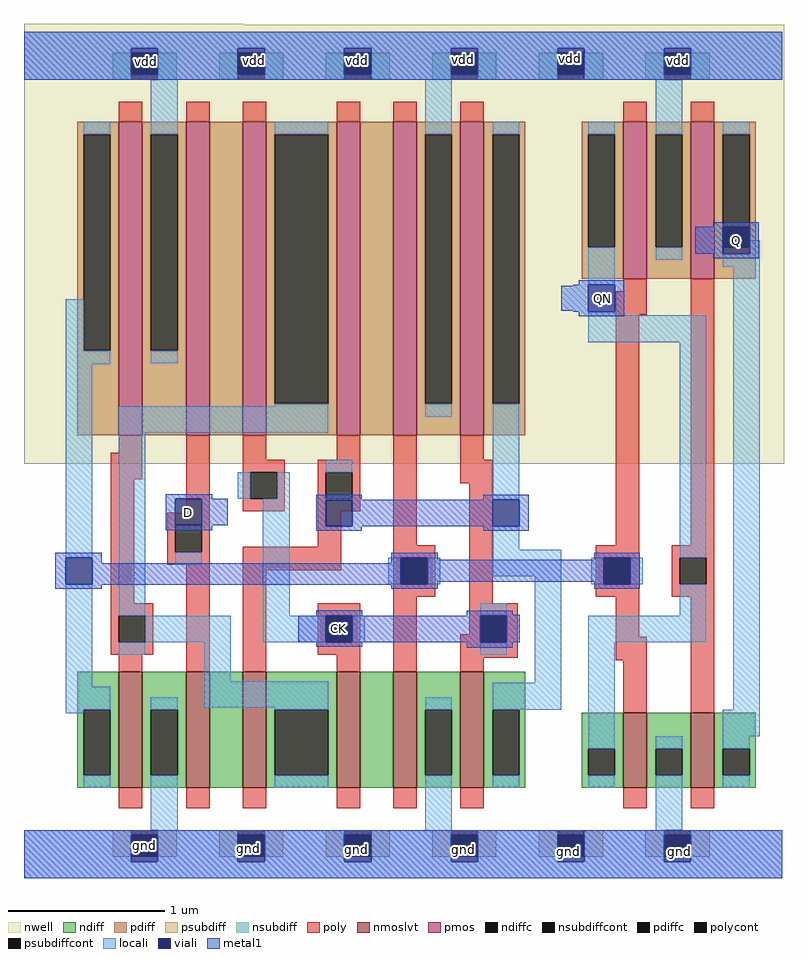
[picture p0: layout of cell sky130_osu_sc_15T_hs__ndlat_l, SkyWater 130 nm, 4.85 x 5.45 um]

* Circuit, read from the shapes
.subckt sky130_osu_sc_15T_hs__ndlat_l D Q QN CK
XM1 gnd n1 n2 gnd sky130_fd_pr__nfet_01v8_lvt w=0.74 l=0.15
XM2 n3 D gnd gnd sky130_fd_pr__nfet_01v8_lvt w=0.74 l=0.15
XM3 n1 n4 n3 gnd sky130_fd_pr__nfet_01v8_lvt w=0.74 l=0.15
XM4 n5 CK n1 gnd sky130_fd_pr__nfet_01v8_lvt w=0.74 l=0.15
XM5 gnd n2 n5 gnd sky130_fd_pr__nfet_01v8_lvt w=0.74 l=0.15
XM6 n4 CK gnd gnd sky130_fd_pr__nfet_01v8_lvt w=0.74 l=0.15
XM7 gnd n2 QN gnd sky130_fd_pr__nfet_01v8_lvt w=0.48 l=0.15
XM8 Q QN gnd gnd sky130_fd_pr__nfet_01v8_lvt w=0.48 l=0.15
XM9 vdd n1 n2 vdd sky130_fd_pr__pfet_01v8 w=2 l=0.15
XM10 n6 D vdd vdd sky130_fd_pr__pfet_01v8 w=2 l=0.15
XM11 n1 CK n6 vdd sky130_fd_pr__pfet_01v8 w=2 l=0.15
XM12 n7 n4 n1 vdd sky130_fd_pr__pfet_01v8 w=2 l=0.15
XM13 vdd n2 n7 vdd sky130_fd_pr__pfet_01v8 w=2 l=0.15
XM14 n4 CK vdd vdd sky130_fd_pr__pfet_01v8 w=2 l=0.15
XM15 vdd n2 QN vdd sky130_fd_pr__pfet_01v8 w=1 l=0.15
XM16 Q QN vdd vdd sky130_fd_pr__pfet_01v8 w=1 l=0.15
.ends

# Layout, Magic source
magic
tech sky130A
magscale 1 2
<< nwell >>
rect 50 1089 330 1090
rect 50 529 1020 1089
<< nmoslvt >>
rect 171 115 201 263
rect 257 115 287 263
rect 329 115 359 263
rect 449 115 479 263
rect 521 115 551 263
rect 607 115 637 263
rect 815 115 845 211
rect 901 115 931 211
<< pmos >>
rect 171 565 201 965
rect 257 565 287 965
rect 329 565 359 965
rect 449 565 479 965
rect 521 565 551 965
rect 607 565 637 965
rect 815 765 845 965
rect 901 765 931 965
<< ndiff >>
rect 118 215 171 263
rect 118 131 126 215
rect 160 131 171 215
rect 118 115 171 131
rect 201 215 257 263
rect 201 131 212 215
rect 246 131 257 215
rect 201 115 257 131
rect 287 115 329 263
rect 359 215 449 263
rect 359 131 370 215
rect 438 131 449 215
rect 359 115 449 131
rect 479 115 521 263
rect 551 215 607 263
rect 551 131 562 215
rect 596 131 607 215
rect 551 115 607 131
rect 637 215 690 263
rect 637 131 648 215
rect 682 131 690 215
rect 637 115 690 131
rect 762 165 815 211
rect 762 131 770 165
rect 804 131 815 165
rect 762 115 815 131
rect 845 165 901 211
rect 845 131 856 165
rect 890 131 901 165
rect 845 115 901 131
rect 931 165 984 211
rect 931 131 942 165
rect 976 131 984 165
rect 931 115 984 131
<< pdiff >>
rect 118 949 171 965
rect 118 673 126 949
rect 160 673 171 949
rect 118 565 171 673
rect 201 949 257 965
rect 201 673 212 949
rect 246 673 257 949
rect 201 565 257 673
rect 287 565 329 965
rect 359 949 449 965
rect 359 605 370 949
rect 438 605 449 949
rect 359 565 449 605
rect 479 565 521 965
rect 551 949 607 965
rect 551 605 562 949
rect 596 605 607 949
rect 551 565 607 605
rect 637 949 690 965
rect 637 605 648 949
rect 682 605 690 949
rect 762 949 815 965
rect 762 805 770 949
rect 804 805 815 949
rect 762 765 815 805
rect 845 949 901 965
rect 845 805 856 949
rect 890 805 901 949
rect 845 765 901 805
rect 931 949 984 965
rect 931 805 942 949
rect 976 805 984 949
rect 931 765 984 805
rect 637 565 690 605
<< ndiffc >>
rect 126 131 160 215
rect 212 131 246 215
rect 370 131 438 215
rect 562 131 596 215
rect 648 131 682 215
rect 770 131 804 165
rect 856 131 890 165
rect 942 131 976 165
<< pdiffc >>
rect 126 673 160 949
rect 212 673 246 949
rect 370 605 438 949
rect 562 605 596 949
rect 648 605 682 949
rect 770 805 804 949
rect 856 805 890 949
rect 942 805 976 949
<< psubdiff >>
rect 163 27 187 61
rect 221 27 245 61
rect 299 27 323 61
rect 357 27 381 61
rect 435 27 459 61
rect 493 27 517 61
rect 571 27 595 61
rect 629 27 653 61
rect 707 27 731 61
rect 765 27 789 61
rect 843 27 867 61
rect 901 27 925 61
<< nsubdiff >>
rect 163 1019 187 1053
rect 221 1019 245 1053
rect 299 1019 323 1053
rect 357 1019 381 1053
rect 435 1019 459 1053
rect 493 1019 517 1053
rect 571 1019 595 1053
rect 629 1019 653 1053
rect 707 1019 731 1053
rect 765 1019 789 1053
rect 843 1019 867 1053
rect 901 1019 925 1053
<< psubdiffcont >>
rect 187 27 221 61
rect 323 27 357 61
rect 459 27 493 61
rect 595 27 629 61
rect 731 27 765 61
rect 867 27 901 61
<< nsubdiffcont >>
rect 187 1019 221 1053
rect 323 1019 357 1053
rect 459 1019 493 1053
rect 595 1019 629 1053
rect 731 1019 765 1053
rect 867 1019 901 1053
<< poly >>
rect 171 965 201 991
rect 257 965 287 991
rect 329 965 359 991
rect 449 965 479 991
rect 521 965 551 991
rect 607 965 637 991
rect 815 965 845 991
rect 901 965 931 991
rect 815 749 845 765
rect 805 719 845 749
rect 171 543 201 565
rect 161 509 201 543
rect 161 351 191 509
rect 257 466 287 565
rect 329 534 359 565
rect 449 534 479 565
rect 329 518 383 534
rect 329 484 339 518
rect 373 484 383 518
rect 329 468 383 484
rect 425 518 479 534
rect 425 484 435 518
rect 469 484 479 518
rect 425 468 479 484
rect 233 450 287 466
rect 233 416 243 450
rect 277 416 287 450
rect 425 423 455 468
rect 233 400 287 416
rect 161 335 215 351
rect 161 301 171 335
rect 205 301 215 335
rect 161 285 215 301
rect 171 263 201 285
rect 257 263 287 400
rect 329 393 455 423
rect 521 425 551 565
rect 607 534 637 565
rect 607 504 648 534
rect 521 409 575 425
rect 329 263 359 393
rect 521 375 531 409
rect 565 375 575 409
rect 521 359 575 375
rect 425 335 479 351
rect 425 301 435 335
rect 469 301 479 335
rect 425 285 479 301
rect 449 263 479 285
rect 521 263 551 359
rect 618 351 648 504
rect 805 425 835 719
rect 901 425 931 765
rect 780 409 835 425
rect 780 375 790 409
rect 824 375 835 409
rect 780 359 835 375
rect 877 409 931 425
rect 877 375 887 409
rect 921 375 931 409
rect 877 359 931 375
rect 618 335 680 351
rect 618 311 632 335
rect 607 301 632 311
rect 666 301 680 335
rect 607 281 680 301
rect 805 308 835 359
rect 607 263 637 281
rect 805 278 845 308
rect 815 211 845 278
rect 901 211 931 359
rect 171 89 201 115
rect 257 89 287 115
rect 329 89 359 115
rect 449 89 479 115
rect 521 89 551 115
rect 607 89 637 115
rect 815 89 845 115
rect 901 89 931 115
<< polycont >>
rect 339 484 373 518
rect 435 484 469 518
rect 243 416 277 450
rect 171 301 205 335
rect 531 375 565 409
rect 435 301 469 335
rect 790 375 824 409
rect 887 375 921 409
rect 632 301 666 335
<< locali >>
rect 50 1059 1018 1080
rect 50 1019 187 1059
rect 221 1019 323 1059
rect 357 1019 459 1059
rect 493 1019 595 1059
rect 629 1019 731 1059
rect 765 1019 867 1059
rect 901 1019 1018 1059
rect 126 949 160 965
rect 103 673 126 739
rect 103 656 160 673
rect 212 949 246 1019
rect 212 657 246 673
rect 370 949 438 965
rect 103 409 137 656
rect 370 602 438 605
rect 103 244 137 375
rect 171 568 438 602
rect 562 949 596 1019
rect 562 589 596 605
rect 648 949 682 965
rect 770 949 804 965
rect 770 757 804 805
rect 856 949 890 1019
rect 856 789 890 805
rect 942 949 976 965
rect 976 797 989 814
rect 942 780 989 797
rect 770 718 804 723
rect 770 684 921 718
rect 171 335 205 568
rect 435 518 469 534
rect 323 484 339 518
rect 373 484 389 518
rect 243 400 277 416
rect 355 335 389 484
rect 435 483 469 484
rect 648 483 682 605
rect 648 419 682 449
rect 515 375 531 409
rect 565 375 581 409
rect 648 385 736 419
rect 887 409 921 684
rect 632 335 666 351
rect 205 301 314 335
rect 355 301 435 335
rect 469 301 485 335
rect 171 285 205 301
rect 280 251 314 301
rect 632 285 666 301
rect 103 215 160 244
rect 103 210 126 215
rect 126 115 160 131
rect 212 215 246 231
rect 280 217 438 251
rect 702 249 736 385
rect 774 375 790 409
rect 824 375 840 409
rect 887 335 921 375
rect 212 61 246 131
rect 370 215 438 217
rect 370 115 438 131
rect 562 215 596 231
rect 562 61 596 131
rect 648 215 736 249
rect 770 301 921 335
rect 648 115 682 131
rect 770 165 804 301
rect 955 215 989 780
rect 942 181 989 215
rect 770 115 804 131
rect 856 165 890 181
rect 856 61 890 131
rect 942 165 976 181
rect 942 115 976 131
rect 50 21 187 61
rect 221 21 323 61
rect 357 21 459 61
rect 493 21 595 61
rect 629 21 731 61
rect 765 21 867 61
rect 901 21 1018 61
rect 50 0 1018 21
<< viali >>
rect 187 1053 221 1059
rect 187 1025 221 1053
rect 323 1053 357 1059
rect 323 1025 357 1053
rect 459 1053 493 1059
rect 459 1025 493 1053
rect 595 1053 629 1059
rect 595 1025 629 1053
rect 731 1053 765 1059
rect 731 1025 765 1053
rect 867 1053 901 1059
rect 867 1025 901 1053
rect 103 375 137 409
rect 942 805 976 831
rect 942 797 976 805
rect 770 723 804 757
rect 243 450 277 484
rect 435 449 469 483
rect 648 449 682 483
rect 531 375 565 409
rect 435 301 469 335
rect 632 301 666 335
rect 790 375 824 409
rect 187 27 221 55
rect 187 21 221 27
rect 323 27 357 55
rect 323 21 357 27
rect 459 27 493 55
rect 459 21 493 27
rect 595 27 629 55
rect 595 21 629 27
rect 731 27 765 55
rect 731 21 765 27
rect 867 27 901 55
rect 867 21 901 27
<< metal1 >>
rect 50 1059 1018 1080
rect 50 1025 187 1059
rect 221 1025 323 1059
rect 357 1025 459 1059
rect 493 1025 595 1059
rect 629 1025 731 1059
rect 765 1025 867 1059
rect 901 1025 1018 1059
rect 50 1019 1018 1025
rect 930 831 988 837
rect 907 797 942 831
rect 976 797 988 831
rect 930 791 988 797
rect 758 757 816 763
rect 751 756 770 757
rect 736 724 770 756
rect 751 723 770 724
rect 804 723 816 757
rect 758 717 816 723
rect 231 484 290 490
rect 231 450 243 484
rect 277 450 310 484
rect 423 483 481 489
rect 636 483 694 489
rect 231 444 290 450
rect 423 449 435 483
rect 469 449 648 483
rect 682 449 694 483
rect 423 443 481 449
rect 636 443 694 449
rect 90 409 149 415
rect 90 375 103 409
rect 137 402 149 409
rect 519 409 578 415
rect 519 402 531 409
rect 137 375 531 402
rect 565 406 578 409
rect 778 409 836 415
rect 778 406 790 409
rect 565 378 790 406
rect 565 375 578 378
rect 90 374 578 375
rect 90 369 149 374
rect 519 369 578 374
rect 778 375 790 378
rect 824 375 836 409
rect 778 369 836 375
rect 423 335 482 342
rect 615 336 674 341
rect 615 335 683 336
rect 400 301 435 335
rect 469 301 632 335
rect 666 301 683 335
rect 423 295 482 301
rect 615 294 674 301
rect 50 55 1018 61
rect 50 21 187 55
rect 221 21 323 55
rect 357 21 459 55
rect 493 21 595 55
rect 629 21 731 55
rect 765 21 867 55
rect 901 21 1018 55
rect 50 0 1018 21
<< labels >>
rlabel viali 260 466 260 466 1 D
port 1 n
rlabel viali 452 318 452 318 1 CK
port 4 n
rlabel viali 959 814 959 814 1 Q
port 2 n
rlabel viali 788 740 788 740 1 QN
port 3 n
rlabel nwell 204 1041 208 1042 1 vdd
rlabel nwell 342 1043 346 1044 1 vdd
rlabel viali 476 1043 476 1043 1 vdd
rlabel viali 611 1045 611 1045 1 vdd
rlabel viali 747 1046 747 1046 1 vdd
rlabel viali 885 1044 885 1044 1 vdd
rlabel viali 204 42 204 42 1 gnd
rlabel viali 337 38 337 38 1 gnd
rlabel viali 475 36 475 36 1 gnd
rlabel viali 611 36 611 36 1 gnd
rlabel viali 745 34 745 34 1 gnd
rlabel viali 886 34 886 34 1 gnd
<< end >>
